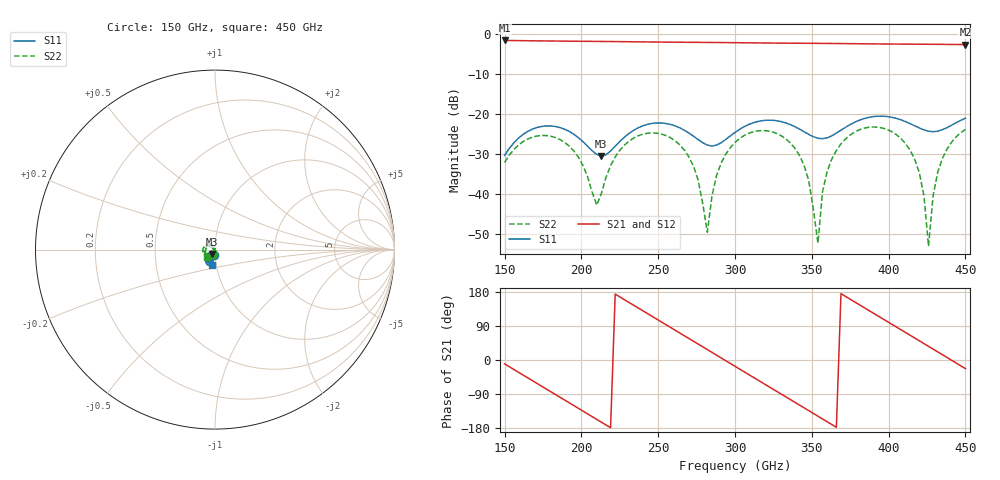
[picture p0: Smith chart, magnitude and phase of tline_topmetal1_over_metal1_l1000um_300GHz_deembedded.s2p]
! Created with skrf 2.0.1 (http://scikit-rf.org).
# GHz S DB R 50.0
!freq dBS11 angS11 dBS21 angS21 dBS12 angS12 dBS22 angS22
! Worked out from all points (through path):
!   101 points, 150 GHz to 450 GHz, reference 50 ohm
!   highest |S21| = -1.58 dB at 150 GHz (marker M1); lowest = -2.6 dB at 450 GHz (marker M2)
!   group delay of S21, straight-line fit = 6.78 ps
!   lowest |S11| = -30.5 dB at 213 GHz (marker M3), VSWR 1.06, Z = 48.1 - j2.28 ohm
!   |S11| at or under -10 dB: start of sweep to end of sweep
!   |S22| runs from -53.0 to -23.2 dB; largest |S21 - S12| = 9.3e-14
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150  -30.27 -100.2  -1.58 -10.2  -1.58 -10.2  -32.07 -119.0
177  -22.95 -126.8  -1.71 -76.2  -1.71 -76.2  -25.35 -168.4
201  -26.88 -152.7  -1.79 -134.8  -1.79 -134.8  -32.81 146.2
210  -30.08 -138.4  -1.82 -156.8  -1.82 -156.8  -42.75 -166.5
213  -30.47 -127.7  -1.83 -164.1  -1.83 -164.1  -39.85 -127.1
228  -25.75 -100.7  -1.89 159.2  -1.89 159.2  -27.74 -128.0
252  -22.21 -126.3  -1.99 100.6  -1.99 100.6  -24.97 178.3
273  -25.52 -142.1  -2.05 49.4  -2.05 49.4  -33.05 132.7
282  -27.74 -130.1  -2.08 27.4  -2.08 27.4  -49.53 -150.2
288  -27.75 -114.9  -2.10 12.8  -2.10 12.8  -35.38 -103.1
300  -24.57 -101.2  -2.14 -16.6  -2.14 -16.6  -27.07 -126.0
333  -22.18 -130.1  -2.26 -97.0  -2.26 -97.0  -26.16 154.8
345  -24.40 -133.3  -2.29 -126.3  -2.29 -126.3  -32.84 126.7
351  -25.64 -127.5  -2.30 -140.9  -2.30 -140.9  -43.77 118.9
354  -26.03 -122.3  -2.31 -148.3  -2.31 -148.3  -52.26 -106.0
357  -26.14 -116.2  -2.32 -155.6  -2.32 -155.6  -39.33 -92.0
366  -24.75 -101.6  -2.35 -177.6  -2.35 -177.6  -29.06 -110.3
402  -20.78 -122.1  -2.48 94.6  -2.48 94.6  -24.37 160.1
420  -23.46 -125.6  -2.52 50.7  -2.52 50.7  -34.62 110.1
426  -24.27 -118.6  -2.53 36.0  -2.53 36.0  -53.00 12.8
432  -24.25 -109.0  -2.55 21.4  -2.55 21.4  -34.51 -86.5
450  -21.01 -99.4  -2.62 -22.6  -2.62 -22.6  -23.82 -137.0
